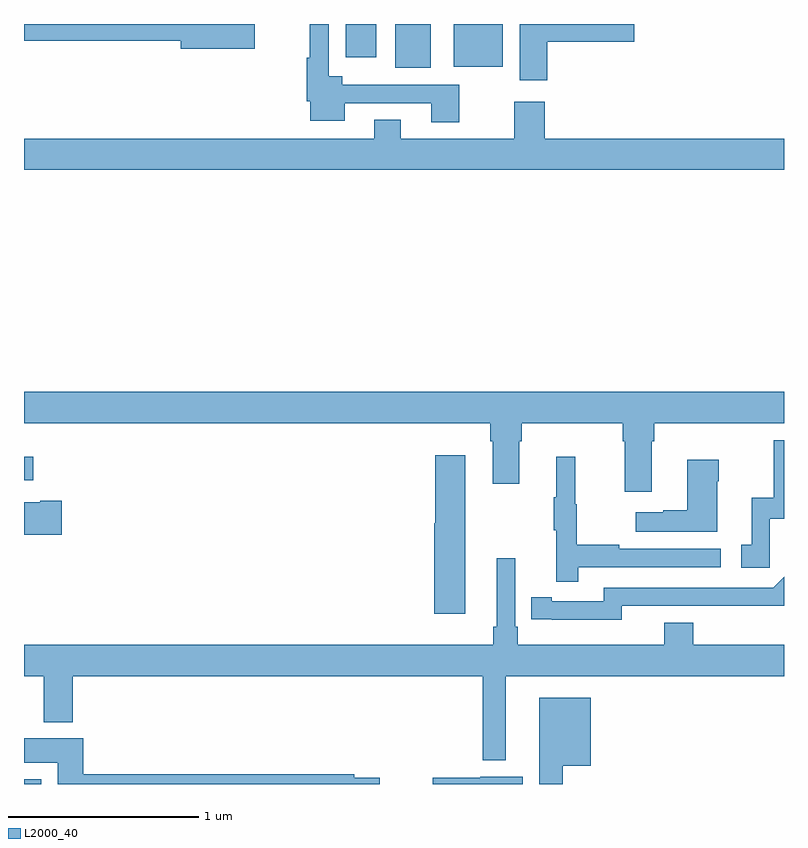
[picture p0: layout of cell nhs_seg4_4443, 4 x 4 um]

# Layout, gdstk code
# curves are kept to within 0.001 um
import gdstk
lib = gdstk.Library(unit=1e-6, precision=1e-09)
def R(c, l, rs):  # rectangles x0, y0, x1, y1
    for r in rs: c.add(gdstk.rectangle(r[:2], r[2:], *l))
def P(c, l, *ps):  # polygons
    for p in ps: c.add(gdstk.Polygon(p, *l))
L2000_40 = (2000, 40)

nhs_seg4_4443 = lib.new_cell('nhs_seg4_4443')
R(nhs_seg4_4443, L2000_40, [(349,814.9,349.09,814.924), (349,816.5,349.048,816.622), (350.954,818.669,351.142,818.9), (351.263,818.675,351.52,818.9), (350.693,818.724,350.854,818.9)])
P(nhs_seg4_4443, L2000_40, [(351.291,818.58),(350.674,818.58),(350.674,818.626),(350.604,818.626),(350.604,818.9),(350.503,818.9),(350.503,818.722),(350.488,818.722),(350.488,818.494),(350.507,818.494),(350.507,818.39),(350.689,818.39),(350.689,818.484),(351.143,818.484),(351.143,818.382),(351.291,818.382)],
  [(350.215,818.9),(349,818.9),(349,818.812),(349.826,818.812),(349.826,818.77),(350.215,818.77)],
  [(351.755,818.807),(352.213,818.807),(352.213,818.9),(351.608,818.9),(351.608,818.604),(351.755,818.604)],
  [(353,818.296),(351.74,818.296),(351.74,818.491),(351.58,818.491),(351.58,818.296),(350.983,818.296),(350.983,818.395),(350.843,818.395),(350.843,818.296),(349,818.296),(349,818.132),(353,818.132)],
  [(352.303,816.704),(352.316,816.704),(352.316,816.8),(353,816.8),(353,816.964),(349,816.964),(349,816.8),(351.455,816.8),(351.455,816.704),(351.467,816.704),(351.467,816.48),(351.607,816.48),(351.607,816.704),(351.62,816.704),(351.62,816.8),(352.151,816.8),(352.151,816.704),(352.163,816.704),(352.163,816.438),(352.303,816.438)],
  [(352.926,816.297),(353,816.297),(353,816.708),(352.947,816.708),(352.947,816.406),(352.829,816.406),(352.829,816.159),(352.776,816.159),(352.776,816.039),(352.926,816.039)],
  [(351.322,816.631),(351.164,816.631),(351.164,816.273),(351.158,816.273),(351.158,815.796),(351.322,815.796)],
  [(351.917,816.042),(352.666,816.042),(352.666,816.138),(352.133,816.138),(352.133,816.158),(351.91,816.158),(351.91,816.372),(351.902,816.372),(351.902,816.622),(351.8,816.622),(351.8,816.409),(351.789,816.409),(351.789,816.235),(351.8,816.235),(351.8,815.964),(351.917,815.964)],
  [(352.648,816.494),(352.656,816.494),(352.656,816.607),(352.49,816.607),(352.49,816.341),(352.364,816.341),(352.364,816.331),(352.221,816.331),(352.221,816.227),(352.648,816.227)],
  [(349.198,816.39),(349.085,816.39),(349.085,816.382),(349,816.382),(349,816.212),(349.198,816.212)],
  [(351.535,815.468),(353,815.468),(353,815.632),(352.523,815.632),(352.523,815.749),(352.37,815.749),(352.37,815.632),(351.599,815.632),(351.599,815.728),(351.585,815.728),(351.585,816.088),(351.488,816.088),(351.488,815.728),(351.469,815.728),(351.469,815.632),(349,815.632),(349,815.468),(349.103,815.468),(349.103,815.225),(349.256,815.225),(349.256,815.468),(351.414,815.468),(351.414,815.024),(351.535,815.024)],
  [(352.146,815.838),(353,815.837),(353,815.99),(352.944,815.934),(352.05,815.934),(352.05,815.862),(351.778,815.862),(351.778,815.882),(351.67,815.882),(351.67,815.766),(352.146,815.765)],
  [(351.835,814.997),(351.982,814.997),(351.982,815.353),(351.713,815.353),(351.713,814.9),(351.835,814.9)],
  [(350.872,814.932),(350.738,814.932),(350.738,814.952),(349.313,814.952),(349.313,815.14),(349,815.14),(349,815.012),(349.178,815.012),(349.178,814.9),(350.872,814.9)],
  [(351.625,814.939),(351.402,814.939),(351.402,814.934),(351.15,814.934),(351.15,814.9),(351.625,814.9)])

lib.write_gds('nhs_seg4_4443.gds')
